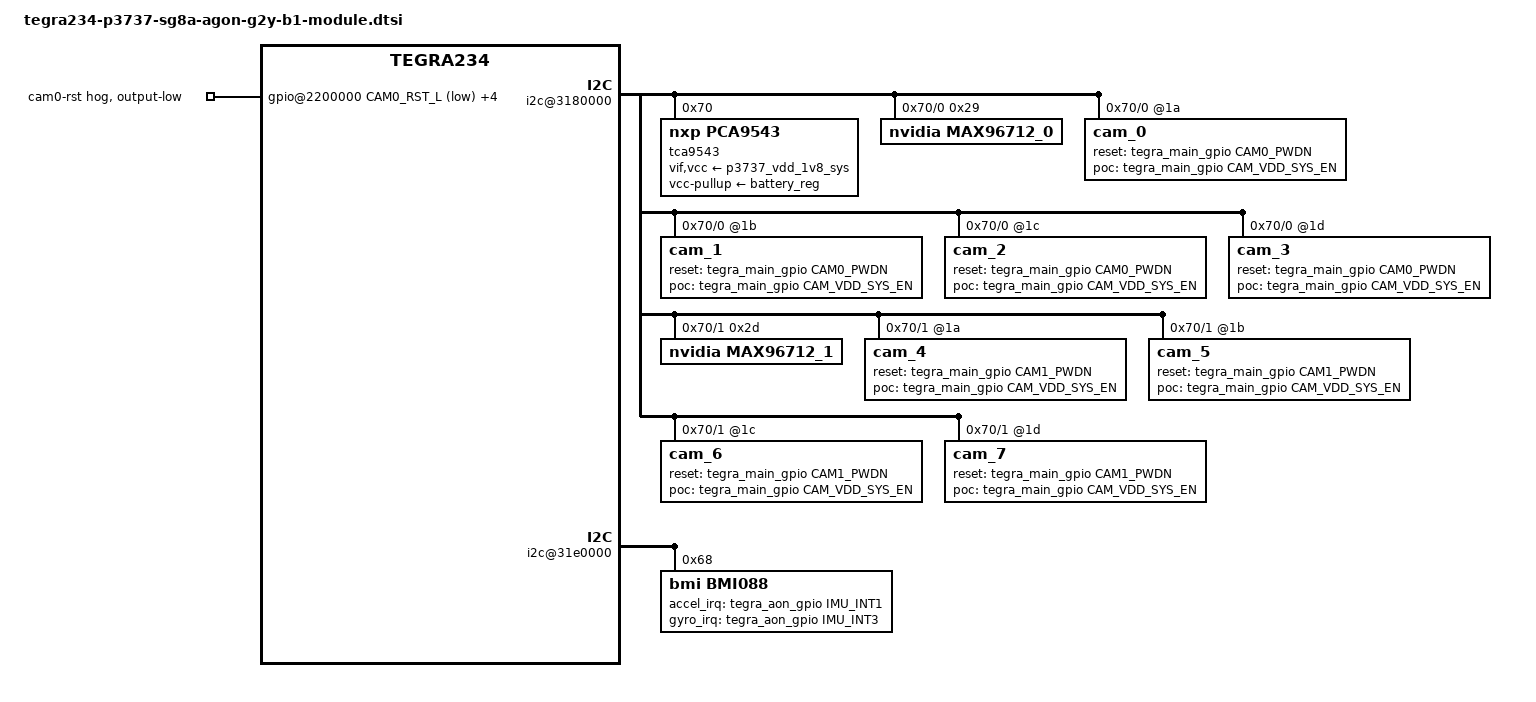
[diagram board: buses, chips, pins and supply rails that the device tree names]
/*
 * Copyright (c) 2018-2022, NVIDIA CORPORATION.  All rights reserved.
 *
 * This program is free software; you can redistribute it and/or modify
 * it under the terms of the GNU General Public License as published by
 * the Free Software Foundation; either version 2 of the License, or
 * (at your option) any later version.
 *
 * This program is distributed in the hope that it will be useful, but WITHOUT
 * ANY WARRANTY; without even the implied warranty of MERCHANTABILITY or
 * FITNESS FOR A PARTICULAR PURPOSE.  See the GNU General Public License for
 * more details.
 *
 * You should have received a copy of the GNU General Public License
 * along with this program.  If not, see <http://www.gnu.org/licenses/>.
 */
#include "dt-bindings/clock/tegra234-clock.h"

//#if defined(SGX_YUV_GMSL2)
#include "sgx-yuv-gmsl2.dtsi"
//#endif

/* camera control gpio definitions */
#define CAM0_RST_L		TEGRA234_MAIN_GPIO(H, 3)
#define CAM0_PWDN		TEGRA234_MAIN_GPIO(H, 6)
#define CAM1_RST_L		TEGRA234_MAIN_GPIO(AC, 1)
#define CAM1_PWDN		TEGRA234_MAIN_GPIO(AC, 0)
#define CAM_VDD_SYS_EN	TEGRA234_MAIN_GPIO(AC, 7)

#define IMU_INT1		TEGRA234_AON_GPIO(CC, 2)
#define IMU_INT2		TEGRA234_AON_GPIO(CC, 3)
#define IMU_INT3		TEGRA234_AON_GPIO(CC, 1)
#define IMU_INT4		TEGRA234_AON_GPIO(CC, 0)

#define CAMERA_I2C_MUX_BUS(x) (0x1E + x)


/ {
	gpio@2200000 {
		camera-control-output-low {
			gpio-hog;
			output-low;
			gpios = <CAM0_RST_L 1 CAM0_PWDN 0 CAM1_RST_L 1 CAM1_PWDN 0 CAM_VDD_SYS_EN 0>;
			label = "cam0-rst", "cam0-pwdn","cam1-rst", "cam1-pwdn", "cam_vdd_sys_en";
		};
	};

	i2c@3180000 {
		tca9543@70 {
			compatible = "nxp,pca9543";
			reg = <0x70>;
			#address-cells = <1>;
			#size-cells = <0>;
			skip_mux_detect = "yes";
			vif-supply = <&p3737_vdd_1v8_sys>;
			vcc-supply = <&p3737_vdd_1v8_sys>;
			vcc-pullup-supply = <&battery_reg>;
			force_bus_start = <CAMERA_I2C_MUX_BUS(0)>;

			i2c@0 {
				reg = <0>;
				i2c-mux,deselect-on-exit;
				#address-cells = <1>;
				#size-cells = <0>;

				max96712_0@29 {
					compatible = "nvidia,max96712_0";
					reg = <0x29>;
				};

				cam_0@1a {
					/* Define any required hw resources needed by driver */
					/* ie. clocks, io pins, power sources */
					clocks = <&bpmp_clks TEGRA234_CLK_EXTPERIPH1>,
							<&bpmp_clks TEGRA234_CLK_EXTPERIPH1>;
					clock-names = "extperiph1", "pllp_grtba";
					mclk = "extperiph1";
					der_id = <0>;//
					reset-gpios = <&tegra_main_gpio CAM0_PWDN GPIO_ACTIVE_HIGH>;
					poc-gpios = <&tegra_main_gpio CAM_VDD_SYS_EN GPIO_ACTIVE_HIGH>;
				};
				cam_1@1b {
					/* Define any required hw resources needed by driver */
					/* ie. clocks, io pins, power sources */
					clocks = <&bpmp_clks TEGRA234_CLK_EXTPERIPH1>,
							<&bpmp_clks TEGRA234_CLK_EXTPERIPH1>;
					clock-names = "extperiph1", "pllp_grtba";
					mclk = "extperiph1";
					der_id = <0>;//
					reset-gpios = <&tegra_main_gpio CAM0_PWDN GPIO_ACTIVE_HIGH>;
					poc-gpios = <&tegra_main_gpio CAM_VDD_SYS_EN GPIO_ACTIVE_HIGH>;
				};
				cam_2@1c {
					/* Define any required hw resources needed by driver */
					/* ie. clocks, io pins, power sources */
					clocks = <&bpmp_clks TEGRA234_CLK_EXTPERIPH1>,
							<&bpmp_clks TEGRA234_CLK_EXTPERIPH1>;
					clock-names = "extperiph1", "pllp_grtba";
					mclk = "extperiph1";
					der_id = <0>;//
					reset-gpios = <&tegra_main_gpio CAM0_PWDN GPIO_ACTIVE_HIGH>;
					poc-gpios = <&tegra_main_gpio CAM_VDD_SYS_EN GPIO_ACTIVE_HIGH>;
				};
				cam_3@1d {
					/* Define any required hw resources needed by driver */
					/* ie. clocks, io pins, power sources */
					clocks = <&bpmp_clks TEGRA234_CLK_EXTPERIPH1>,
							<&bpmp_clks TEGRA234_CLK_EXTPERIPH1>;
					clock-names = "extperiph1", "pllp_grtba";
					mclk = "extperiph1";
					der_id = <0>;//
					reset-gpios = <&tegra_main_gpio CAM0_PWDN GPIO_ACTIVE_HIGH>;
					poc-gpios = <&tegra_main_gpio CAM_VDD_SYS_EN GPIO_ACTIVE_HIGH>;
				};
			};
		
			i2c@1 {
				reg = <1>;
				i2c-mux,deselect-on-exit;
				#address-cells = <1>;
				#size-cells = <0>;

				max96712_1@2d {
					compatible = "nvidia,max96712_1";
					reg = <0x2d>;
				};

				cam_4@1a {
					/* Define any required hw resources needed by driver */
					/* ie. clocks, io pins, power sources */
					clocks = <&bpmp_clks TEGRA234_CLK_EXTPERIPH1>,
							<&bpmp_clks TEGRA234_CLK_EXTPERIPH1>;
					clock-names = "extperiph1", "pllp_grtba";
					mclk = "extperiph1";
					der_id = <1>;//
					reset-gpios = <&tegra_main_gpio CAM1_PWDN GPIO_ACTIVE_HIGH>;
					poc-gpios = <&tegra_main_gpio CAM_VDD_SYS_EN GPIO_ACTIVE_HIGH>;
				};
				cam_5@1b {
					/* Define any required hw resources needed by driver */
					/* ie. clocks, io pins, power sources */
					clocks = <&bpmp_clks TEGRA234_CLK_EXTPERIPH1>,
							<&bpmp_clks TEGRA234_CLK_EXTPERIPH1>;
					clock-names = "extperiph1", "pllp_grtba";
					mclk = "extperiph1";
					der_id = <1>;//
					reset-gpios = <&tegra_main_gpio CAM1_PWDN GPIO_ACTIVE_HIGH>;
					poc-gpios = <&tegra_main_gpio CAM_VDD_SYS_EN GPIO_ACTIVE_HIGH>;
				};
				cam_6@1c {
					/* Define any required hw resources needed by driver */
					/* ie. clocks, io pins, power sources */
					clocks = <&bpmp_clks TEGRA234_CLK_EXTPERIPH1>,
							<&bpmp_clks TEGRA234_CLK_EXTPERIPH1>;
					clock-names = "extperiph1", "pllp_grtba";
					mclk = "extperiph1";
					der_id = <1>;//
					reset-gpios = <&tegra_main_gpio CAM1_PWDN GPIO_ACTIVE_HIGH>;
					poc-gpios = <&tegra_main_gpio CAM_VDD_SYS_EN GPIO_ACTIVE_HIGH>;
				};
				cam_7@1d {
					/* Define any required hw resources needed by driver */
					/* ie. clocks, io pins, power sources */
					clocks = <&bpmp_clks TEGRA234_CLK_EXTPERIPH1>,
							<&bpmp_clks TEGRA234_CLK_EXTPERIPH1>;
					clock-names = "extperiph1", "pllp_grtba";
					mclk = "extperiph1";
					der_id = <1>;//
					reset-gpios = <&tegra_main_gpio CAM1_PWDN GPIO_ACTIVE_HIGH>;
					poc-gpios = <&tegra_main_gpio CAM_VDD_SYS_EN GPIO_ACTIVE_HIGH>;
				};
			};
		};
	};

	i2c@31e0000 {
		bmi088@68 {
			compatible = "bmi,bmi088";
			accel_i2c_addr = <0x18>;
			status = "okay";
			reg = <0x68>;
			accel_irq_gpio = <&tegra_aon_gpio IMU_INT1 GPIO_ACTIVE_HIGH>;
			gyro_irq_gpio = <&tegra_aon_gpio IMU_INT3 GPIO_ACTIVE_HIGH>;
			accel_matrix = [01 00 00 00 01 00 00 00 01];
			gyro_matrix = [01 00 00 00 01 00 00 00 01];
			accel_reg_0x53 = <0x0A>;
			gyro_reg_0x16 = <0x01>;
			gyro_reg_0x18 = <0x01>;
		};
	};
};
